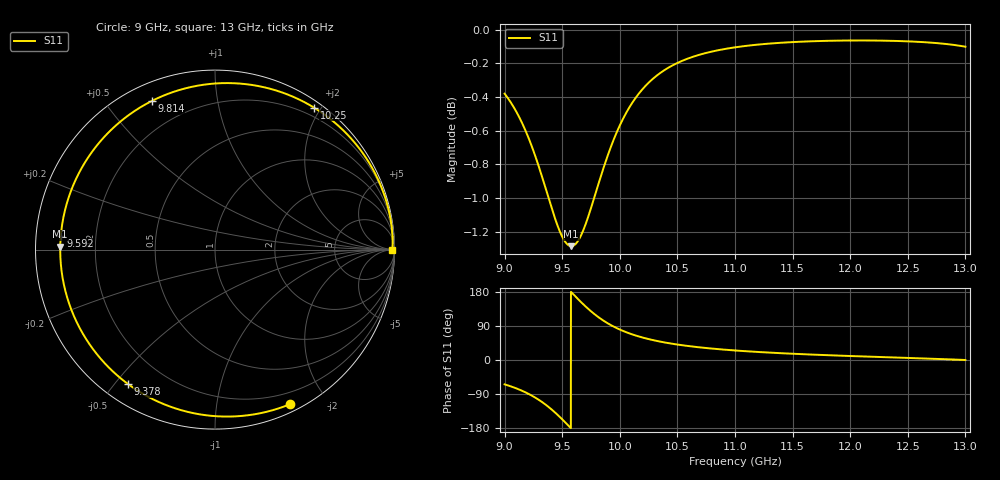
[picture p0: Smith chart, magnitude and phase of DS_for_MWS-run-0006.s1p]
! TOUCHSTONE file generated by CST DESIGN STUDIO
! Date and time: Tue Feb  4 18:42:39 2025
! Project name: C:\Work\MatlabApps\UnitCellOptimizationMatlab\CST\unitcell.cst
! Tree item: Tasks\Sweep1\SPara1\S-Parameters
! Header version: 2024
! Port assignment regex: !\s*Touchstone port\s*([0-9]+)\s*=\s*(CST MWS port|CST DES external port|CST DES block port)\s*(.+)\s* \(\"(.*)\"\)(\s*mode\s*([0-9]+))?.*
! Touchstone port assignment:
! Touchstone port 1 = CST DES external port 1 ("")
# GHz S MA R 50
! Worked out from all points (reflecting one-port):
!   4001 points, 9 GHz to 13 GHz, reference 50 ohm
!   lowest |S11| = -1.3 dB at 9.579 GHz (marker M1), VSWR 13.53, Z = 3.7 + j0.472 ohm
!   phase of S11 starts at -64 deg and turns -296 deg over the sweep
!   S11 on the Smith chart (normalised r, x): 9 GHz: 0.08, -1.59; 9.378 GHz: 0.07, -0.54; 9.592 GHz: 0.07, +0.05; 9.814 GHz: 0.08, +0.66; 10.25 GHz: 0.08, +1.91; 13 GHz: open
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9  0.9572 -64.3
9.044  0.9526 -68.6
9.112  0.944 -76.1
9.228  0.9249 -92.6
9.307  0.9084 -107.2
9.378  0.892 -123.0
9.438  0.8788 -138.6
9.5  0.868 -156.5
9.54  0.8637 -168.8
9.579  0.8623 178.9
9.592  0.8625 174.8
9.647  0.8666 157.7
9.709  0.8765 139.6
9.761  0.8876 125.7
9.814  0.8997 113.1
9.855  0.9089 104.5
9.898  0.9181 96.3
10  0.9366 80.4
10.118  0.9524 66.5
10.251  0.9645 55.1
10.367  0.9717 47.5
10.5  0.9775 40.8
10.721  0.9837 32.5
11  0.988 25.1
11.5  0.9916 16.5
12  0.9927 10.5
12.5  0.9921 5.5
13  0.9885 0.0
